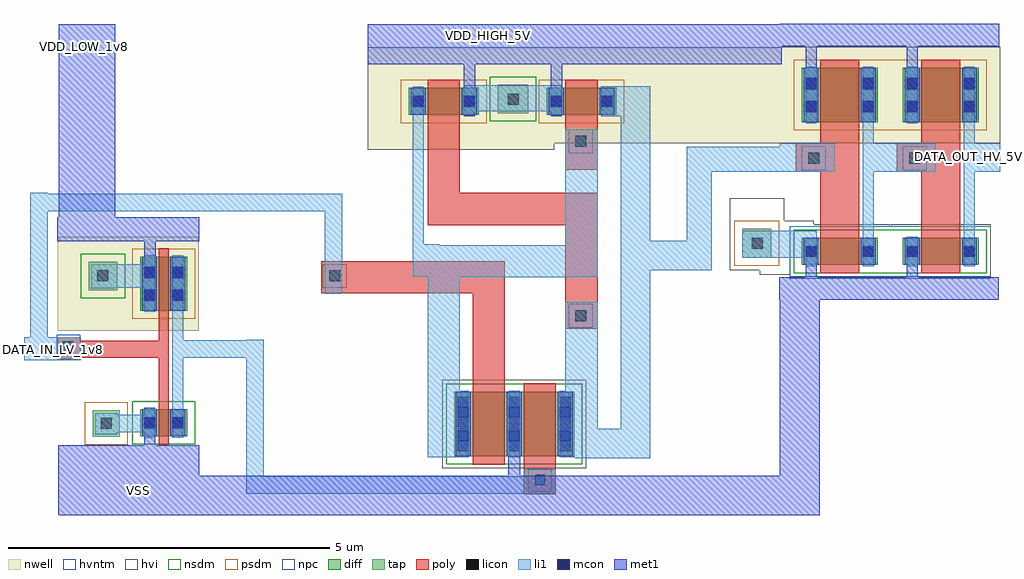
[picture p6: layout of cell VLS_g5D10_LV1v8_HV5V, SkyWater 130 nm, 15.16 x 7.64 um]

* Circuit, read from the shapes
.subckt VLS_g5D10_LV1v8_HV5V DATA_IN_LV_1v8 DATA_OUT_HV_5V VDD_HIGH_5V VDD_LOW_1v8 VSS
XM1 inv_D1_1v8_6/OUT DATA_IN_LV_1v8 VSS VSS sky130_fd_pr__nfet_01v8 w=0.42 l=0.15
XM2 VSS DATA_IN_LV_1v8 n1 VSS sky130_fd_pr__nfet_g5v0d10v5 w=1 l=0.5
XM3 inverter_D1_g5v10_5/IN inv_D1_1v8_6/OUT VSS VSS sky130_fd_pr__nfet_g5v0d10v5 w=1 l=0.5
XM4 inverter_D1_g5v10_4/IN inverter_D1_g5v10_5/IN VSS VSS sky130_fd_pr__nfet_g5v0d10v5 w=0.42 l=0.6
XM5 DATA_OUT_HV_5V inverter_D1_g5v10_4/IN VSS VSS sky130_fd_pr__nfet_g5v0d10v5 w=0.42 l=0.6
XM6 inv_D1_1v8_6/OUT DATA_IN_LV_1v8 VDD_LOW_1v8 VDD_LOW_1v8 sky130_fd_pr__pfet_01v8 w=0.84 l=0.15
XM7 VDD_HIGH_5V inverter_D1_g5v10_5/IN n1 VDD_HIGH_5V sky130_fd_pr__pfet_g5v0d10v5 w=0.42 l=0.5
XM8 inverter_D1_g5v10_5/IN n1 VDD_HIGH_5V VDD_HIGH_5V sky130_fd_pr__pfet_g5v0d10v5 w=0.42 l=0.5
XM9 inverter_D1_g5v10_4/IN inverter_D1_g5v10_5/IN VDD_HIGH_5V VDD_HIGH_5V sky130_fd_pr__pfet_g5v0d10v5 w=0.84 l=0.6
XM10 DATA_OUT_HV_5V inverter_D1_g5v10_4/IN VDD_HIGH_5V VDD_HIGH_5V sky130_fd_pr__pfet_g5v0d10v5 w=0.84 l=0.6
.ends

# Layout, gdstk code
import gdstk
lib = gdstk.Library(unit=1e-6, precision=1e-09)
def R(c, l, rs):  # rectangles x0, y0, x1, y1
    for r in rs: c.add(gdstk.rectangle(r[:2], r[2:], *l))
def A(c, l, x, y, w, h, nx, ny, dx, dy):  # array of equal rectangles
    R(c, l, [(x+i*dx, y+j*dy, x+i*dx+w, y+j*dy+h) for i in range(nx) for j in range(ny)])
nwell = (64, 20)
diff = (65, 20)
tap = (65, 44)
poly = (66, 20)
licon = (66, 44)
li1 = (67, 20)
mcon = (67, 44)
met1 = (68, 20)
hvi = (75, 20)
nsdm = (93, 44)
psdm = (94, 20)
npc = (95, 20)
hvntm = (125, 20)

sky130_fd_pr__pfet_g5v0d = lib.new_cell('sky130_fd_pr__pfet_g5v0d10v5_HDJJAB')
R(sky130_fd_pr__pfet_g5v0d, nwell, [(-0.72,-0.52,0.72,0.52)])
R(sky130_fd_pr__pfet_g5v0d, diff, [(-0.54,-0.21,0.54,0.21)])
R(sky130_fd_pr__pfet_g5v0d, poly, [(-0.25,-0.34,0.25,0.34)])
R(sky130_fd_pr__pfet_g5v0d, licon, [(-0.48,-0.085,-0.31,0.085), (0.31,-0.085,0.48,0.085)])
R(sky130_fd_pr__pfet_g5v0d, li1, [(-0.48,-0.23,-0.31,0.23), (0.31,-0.23,0.48,0.23)])
R(sky130_fd_pr__pfet_g5v0d, mcon, [(-0.48,-0.085,-0.31,0.085), (0.31,-0.085,0.48,0.085)])
R(sky130_fd_pr__pfet_g5v0d, met1, [(-0.51,-0.21,-0.28,0.21), (0.28,-0.21,0.51,0.21)])
R(sky130_fd_pr__pfet_g5v0d, hvi, [(-0.72,-0.52,0.72,-0.42), (-1.145,-0.42,1.145,0.42), (-0.72,0.42,0.72,0.52)])
R(sky130_fd_pr__pfet_g5v0d, psdm, [(-0.665,-0.335,0.665,0.335)])

sky130_fd_pr__nfet_g5v0d = lib.new_cell('sky130_fd_pr__nfet_g5v0d10v5_PDTLGW')
R(sky130_fd_pr__nfet_g5v0d, diff, [(-0.54,-0.5,0.54,0.5)])
R(sky130_fd_pr__nfet_g5v0d, poly, [(-0.25,-0.63,0.25,0.63)])
A(sky130_fd_pr__nfet_g5v0d, licon, -0.48, -0.425, 0.17, 0.17, 1, 3, 0, 0.34)
A(sky130_fd_pr__nfet_g5v0d, licon, 0.31, -0.425, 0.17, 0.17, 1, 3, 0, 0.34)
R(sky130_fd_pr__nfet_g5v0d, li1, [(-0.48,-0.52,-0.31,0.52), (0.31,-0.52,0.48,0.52)])
R(sky130_fd_pr__nfet_g5v0d, mcon, [(-0.48,-0.265,-0.31,-0.095), (0.31,-0.265,0.48,-0.095), (-0.48,0.095,-0.31,0.265), (0.31,0.095,0.48,0.265)])
R(sky130_fd_pr__nfet_g5v0d, met1, [(-0.51,-0.5,-0.28,0.5), (0.28,-0.5,0.51,0.5)])
R(sky130_fd_pr__nfet_g5v0d, hvi, [(-0.725,-0.685,0.725,0.685)])
R(sky130_fd_pr__nfet_g5v0d, nsdm, [(-0.665,-0.625,0.665,0.625)])
R(sky130_fd_pr__nfet_g5v0d, hvntm, [(-0.725,-0.685,0.725,0.685)])

c_sky130_fd_pr__pfet_g5v0d = lib.new_cell('sky130_fd_pr__pfet_g5v0d10v5_54DD5S')
R(c_sky130_fd_pr__pfet_g5v0d, nwell, [(-0.77,-0.73,0.77,0.73)])
R(c_sky130_fd_pr__pfet_g5v0d, diff, [(-0.59,-0.42,0.59,0.42)])
R(c_sky130_fd_pr__pfet_g5v0d, poly, [(-0.3,-0.55,0.3,0.55)])
R(c_sky130_fd_pr__pfet_g5v0d, licon, [(-0.53,-0.255,-0.36,-0.085), (0.36,-0.255,0.53,-0.085), (-0.53,0.085,-0.36,0.255), (0.36,0.085,0.53,0.255)])
R(c_sky130_fd_pr__pfet_g5v0d, li1, [(-0.53,-0.44,-0.36,0.44), (0.36,-0.44,0.53,0.44)])
R(c_sky130_fd_pr__pfet_g5v0d, mcon, [(-0.53,-0.265,-0.36,-0.095), (0.36,-0.265,0.53,-0.095), (-0.53,0.095,-0.36,0.265), (0.36,0.095,0.53,0.265)])
R(c_sky130_fd_pr__pfet_g5v0d, met1, [(-0.56,-0.42,-0.33,0.42), (0.33,-0.42,0.56,0.42)])
R(c_sky130_fd_pr__pfet_g5v0d, hvi, [(-0.77,-0.73,0.77,-0.605), (-0.775,-0.605,0.775,0.605), (-0.77,0.605,0.77,0.73)])
R(c_sky130_fd_pr__pfet_g5v0d, psdm, [(-0.715,-0.545,0.715,0.545)])

c_sky130_fd_pr__nfet_g5v0d = lib.new_cell('sky130_fd_pr__nfet_g5v0d10v5_RU632G')
R(c_sky130_fd_pr__nfet_g5v0d, diff, [(-0.59,-0.21,0.59,0.21)])
R(c_sky130_fd_pr__nfet_g5v0d, poly, [(-0.3,-0.34,0.3,0.34)])
R(c_sky130_fd_pr__nfet_g5v0d, licon, [(-0.53,-0.085,-0.36,0.085), (0.36,-0.085,0.53,0.085)])
R(c_sky130_fd_pr__nfet_g5v0d, li1, [(-0.53,-0.23,-0.36,0.23), (0.36,-0.23,0.53,0.23)])
R(c_sky130_fd_pr__nfet_g5v0d, mcon, [(-0.53,-0.085,-0.36,0.085), (0.36,-0.085,0.53,0.085)])
R(c_sky130_fd_pr__nfet_g5v0d, met1, [(-0.56,-0.21,-0.33,0.21), (0.33,-0.21,0.56,0.21)])
R(c_sky130_fd_pr__nfet_g5v0d, hvi, [(-0.775,-0.42,0.775,0.42)])
R(c_sky130_fd_pr__nfet_g5v0d, nsdm, [(-0.715,-0.335,0.715,0.335)])
R(c_sky130_fd_pr__nfet_g5v0d, hvntm, [(-0.775,-0.395,0.775,0.395)])

inverter_d1_g5v10 = lib.new_cell('inverter_D1_g5v10')
R(inverter_d1_g5v10, nwell, [(-0.49,1.54,1.36,3.04)])
R(inverter_d1_g5v10, poly, [(0.14,0.08,0.74,1.1), (-0.24,1.1,0.74,1.54), (0.14,1.54,0.74,1.74)])
R(inverter_d1_g5v10, licon, [(-0.05,1.225,0.12,1.395)])
R(inverter_d1_g5v10, li1, [(0.8,-0.175,0.97,1.1), (-0.49,1.1,0.36,1.54), (0.8,1.1,1.36,1.54), (0.8,1.54,0.97,1.87)])
R(inverter_d1_g5v10, met1, [(-0.5,-0.89,1.34,-0.54), (-0.09,-0.54,0.08,0.07), (-0.09,1.87,0.08,3.05), (-0.49,3.05,1.35,3.4)])
R(inverter_d1_g5v10, hvi, [(-0.49,1.54,1.36,1.56), (-0.49,1.56,-0.33,1.685), (1.21,1.56,1.36,1.685), (-0.49,1.685,-0.335,2.895), (1.215,1.685,1.36,2.895), (-0.49,2.895,-0.33,3.02), (1.21,2.895,1.36,3.02), (-0.49,3.02,1.36,3.04)])
R(inverter_d1_g5v10, npc, [(-0.15,1.125,0.22,1.495)])
inverter_d1_g5v10.add(gdstk.Reference(c_sky130_fd_pr__pfet_g5v0d, (0.44,2.29)))
inverter_d1_g5v10.add(gdstk.Reference(c_sky130_fd_pr__nfet_g5v0d, (0.44,-0.14)))
inverter_d1_g5v10.add(gdstk.Label('VDD', (0.46,3.25), layer=68, texttype=16))
inverter_d1_g5v10.add(gdstk.Label('GND', (0.46,-0.69), layer=68, texttype=16))
inverter_d1_g5v10.add(gdstk.Label('IN', (-0.32,1.33), layer=67, texttype=16))
inverter_d1_g5v10.add(gdstk.Label('OUT', (1.12,1.35), layer=67, texttype=16))

sky130_fd_pr__pfet_01v8_ = lib.new_cell('sky130_fd_pr__pfet_01v8_6PK3KM')
R(sky130_fd_pr__pfet_01v8_, nwell, [(-0.545,-0.73,0.545,0.73)])
R(sky130_fd_pr__pfet_01v8_, diff, [(-0.365,-0.42,0.365,0.42)])
R(sky130_fd_pr__pfet_01v8_, poly, [(-0.075,-0.55,0.075,0.55)])
R(sky130_fd_pr__pfet_01v8_, licon, [(-0.305,-0.255,-0.135,-0.085), (0.135,-0.255,0.305,-0.085), (-0.305,0.085,-0.135,0.255), (0.135,0.085,0.305,0.255)])
R(sky130_fd_pr__pfet_01v8_, li1, [(-0.305,-0.44,-0.135,0.44), (0.135,-0.44,0.305,0.44)])
R(sky130_fd_pr__pfet_01v8_, mcon, [(-0.305,-0.265,-0.135,-0.095), (0.135,-0.265,0.305,-0.095), (-0.305,0.095,-0.135,0.265), (0.135,0.095,0.305,0.265)])
R(sky130_fd_pr__pfet_01v8_, met1, [(-0.335,-0.42,-0.105,0.42), (0.105,-0.42,0.335,0.42)])
R(sky130_fd_pr__pfet_01v8_, psdm, [(-0.49,-0.545,0.49,0.545)])

sky130_fd_pr__nfet_01v8_ = lib.new_cell('sky130_fd_pr__nfet_01v8_FNPZCM')
R(sky130_fd_pr__nfet_01v8_, diff, [(-0.365,-0.21,0.365,0.21)])
R(sky130_fd_pr__nfet_01v8_, poly, [(-0.075,-0.34,0.075,0.34)])
R(sky130_fd_pr__nfet_01v8_, licon, [(-0.305,-0.085,-0.135,0.085), (0.135,-0.085,0.305,0.085)])
R(sky130_fd_pr__nfet_01v8_, li1, [(-0.305,-0.23,-0.135,0.23), (0.135,-0.23,0.305,0.23)])
R(sky130_fd_pr__nfet_01v8_, mcon, [(-0.305,-0.085,-0.135,0.085), (0.135,-0.085,0.305,0.085)])
R(sky130_fd_pr__nfet_01v8_, met1, [(-0.335,-0.21,-0.105,0.21), (0.105,-0.21,0.335,0.21)])
R(sky130_fd_pr__nfet_01v8_, nsdm, [(-0.49,-0.335,0.49,0.335)])

lv_1v8_pmostap_substrate = lib.new_cell('LV_1v8_pmosTap_substrate')
R(lv_1v8_pmostap_substrate, tap, [(-0.15,-0.1,0.29,0.34)])
R(lv_1v8_pmostap_substrate, licon, [(-0.015,0.035,0.155,0.205)])
R(lv_1v8_pmostap_substrate, li1, [(-0.11,-0.07,0.25,0.3)])
R(lv_1v8_pmostap_substrate, nsdm, [(-0.275,-0.225,0.415,0.465)])

lv_1v8_nmostap_substrate = lib.new_cell('LV_1v8_nmosTap_substrate_Pwell')
R(lv_1v8_nmostap_substrate, tap, [(-0.22,-0.18,0.2,0.23)])
R(lv_1v8_nmostap_substrate, licon, [(-0.095,-0.05,0.075,0.12)])
R(lv_1v8_nmostap_substrate, li1, [(-0.18,-0.14,0.16,0.19)])
R(lv_1v8_nmostap_substrate, psdm, [(-0.345,-0.305,0.325,0.355)])

inv_d1_1v8 = lib.new_cell('inv_D1_1v8')
R(inv_d1_1v8, nwell, [(-1.1,0,1.09,1.46)])
R(inv_d1_1v8, poly, [(0.47,-1.115,0.62,-0.42), (-1.1,-0.45,-0.75,-0.42), (-1.1,-0.42,0.62,-0.16), (-1.1,-0.16,-0.75,-0.1), (0.47,-0.16,0.62,0.19)])
R(inv_d1_1v8, licon, [(-1.02,-0.335,-0.85,-0.165)])
R(inv_d1_1v8, li1, [(-0.52,-1.58,0.37,-1.31), (0.68,-1.445,0.85,-0.42), (-1.1,-0.45,-0.75,-0.1), (0.68,-0.42,1.1,-0.15), (0.68,-0.15,0.85,0.43), (-0.57,0.67,0.35,1.03)])
R(inv_d1_1v8, met1, [(-1.095,-2.15,1.09,-1.78), (0.24,-1.78,0.41,-1.2), (0.24,0.83,0.42,1.39), (-1.105,1.39,1.1,1.76)])
R(inv_d1_1v8, npc, [(-1.12,-0.435,-0.75,-0.065)])
inv_d1_1v8.add(gdstk.Reference(sky130_fd_pr__pfet_01v8_, (0.545,0.73)))
inv_d1_1v8.add(gdstk.Reference(sky130_fd_pr__nfet_01v8_, (0.545,-1.43)))
inv_d1_1v8.add(gdstk.Reference(lv_1v8_pmostap_substrate, (-0.47,0.73)))
inv_d1_1v8.add(gdstk.Reference(lv_1v8_nmostap_substrate, (-0.34,-1.47)))
inv_d1_1v8.add(gdstk.Label('OUT', (0.94,-0.29), layer=67, texttype=16))
inv_d1_1v8.add(gdstk.Label('VDD', (0.23,1.61), layer=68, texttype=16))
inv_d1_1v8.add(gdstk.Label('VSS', (0.21,-1.99), layer=68, texttype=16))
inv_d1_1v8.add(gdstk.Label('IN', (-0.95,-0.25), layer=67, texttype=16))

mv_5v_pmostap_substrate = lib.new_cell('MV_5V_pmosTap_substrate')
R(mv_5v_pmostap_substrate, tap, [(-0.35,0,0.12,0.44)])
R(mv_5v_pmostap_substrate, licon, [(-0.195,0.13,-0.025,0.3)])
R(mv_5v_pmostap_substrate, li1, [(-0.31,0.04,0.07,0.4)])
R(mv_5v_pmostap_substrate, hvi, [(-0.535,-0.2,0.305,0.64)])
R(mv_5v_pmostap_substrate, nsdm, [(-0.475,-0.125,0.245,0.565)])

mv_5v_nmostap_substrate_ = lib.new_cell('MV_5V_nmosTap_substrate_Pwell')
R(mv_5v_nmostap_substrate_, tap, [(-0.48,-0.08,-0.03,0.37)])
R(mv_5v_nmostap_substrate_, licon, [(-0.335,0.065,-0.165,0.235)])
R(mv_5v_nmostap_substrate_, li1, [(-0.44,-0.03,-0.06,0.34)])
R(mv_5v_nmostap_substrate_, hvi, [(-0.675,-0.275,0.165,0.565)])
R(mv_5v_nmostap_substrate_, psdm, [(-0.605,-0.205,0.095,0.495)])

vls_g5d10_lv1v8_hv5v = lib.new_cell('VLS_g5D10_LV1v8_HV5V')
R(vls_g5d10_lv1v8_hv5v, nwell, [(-0.46,-0.23,2.44,-0.13), (-0.46,-0.13,6.075,1.36)])
R(vls_g5d10_lv1v8_hv5v, poly, [(1.96,-5.58,2.46,-5.04), (1.17,-3.88,1.67,-2.46), (2.61,-3.01,3.11,-1.4), (-1.18,-2.46,1.67,-1.96), (0.47,-1.4,3.11,-0.9), (0.47,-0.9,0.97,0.22), (2.61,-0.54,3.11,0.23)])
R(vls_g5d10_lv1v8_hv5v, licon, [(2.13,-5.445,2.3,-5.275), (2.765,-2.895,2.935,-2.725), (-1.06,-2.275,-0.89,-2.105), (2.765,-0.185,2.935,-0.015)])
R(vls_g5d10_lv1v8_hv5v, li1, [(-2.345,-5.575,2.355,-5.57), (-2.345,-5.57,2.46,-5.305), (-2.345,-5.305,-2.075,-3.46), (1.96,-5.305,2.46,-5.19), (2.76,-5.02,3.93,-5.01), (0.47,-5.01,0.97,-2.21), (2.61,-5.01,3.93,-4.56), (2.61,-4.56,3.11,-2.59), (3.47,-4.56,3.93,-2.1), (-5.8,-3.5,-4.92,-3.14), (-3.455,-3.46,-2.075,-3.19), (-2.345,-3.19,-2.075,-3.185), (-5.7,-3.14,-5.43,-1.185), (-1.125,-2.465,-0.855,-1.185), (0.47,-2.21,3.11,-2.205), (0.24,-2.205,3.11,-1.71), (4.495,-2.105,4.885,-2.1), (3.47,-2.1,4.885,-1.64), (5.36,-1.91,6.51,-1.49), (0.24,-1.71,0.66,-1.7), (2.61,-1.71,3.11,0.09), (0.24,-1.7,0.41,0.75), (3.47,-1.64,3.93,0.29), (4.495,-1.64,4.885,-0.57), (-5.7,-1.185,-0.855,-0.915), (-5.7,-0.915,-5.43,-0.9), (4.495,-0.57,6.33,-0.18), (8.96,-0.57,9.36,-0.13), (3.27,0.29,3.93,0.3), (3.17,0.3,3.93,0.76), (1.03,0.37,2.55,0.77)])
R(vls_g5d10_lv1v8_hv5v, met1, [(-5.25,-5.91,6.56,-5.9), (-5.27,-5.9,6.56,-5.29), (-5.27,-5.29,-3.08,-5.09), (1.72,-5.29,1.91,-4.69), (5.94,-5.29,6.56,-2.31), (-3.12,-5.09,-3.08,-4.82), (-5.26,-1.64,-4.38,1.72), (1.03,0.3,1.21,1.1), (2.38,0.3,2.56,1.1), (-0.46,1.1,5.97,1.72)])
R(vls_g5d10_lv1v8_hv5v, hvi, [(7.645,-2.205,7.665,-1.415), (5.625,-2.175,6.095,-2.105), (6.005,-2.105,6.095,-1.39), (6.005,-1.39,6.465,-1.335), (5.165,-1.265,6.005,-0.985), (-0.46,-0.23,2.44,-0.13), (-0.46,-0.13,5.94,0), (-0.46,0,0,0.1), (1.44,0,2.14,0.1), (3.58,0,5.94,0.1), (-0.46,0.1,-0.425,0.94), (4.005,0.1,5.94,0.94), (-0.46,0.94,0,1.04), (3.58,0.94,5.94,1.04), (1.44,0.98,2.14,1.04), (-0.46,1.04,5.94,1.36)])
R(vls_g5d10_lv1v8_hv5v, nsdm, [(7.585,-2.145,7.725,-1.475)])
R(vls_g5d10_lv1v8_hv5v, psdm, [(7.585,0.075,7.725,1.165)])
R(vls_g5d10_lv1v8_hv5v, npc, [(2.03,-5.545,2.4,-5.175), (2.665,-2.995,3.035,-2.625), (-1.16,-2.375,-0.79,-2.005), (2.665,-0.285,3.035,0.085)])
R(vls_g5d10_lv1v8_hv5v, hvntm, [(7.645,-2.205,7.665,-1.415)])
vls_g5d10_lv1v8_hv5v.add(gdstk.Reference(sky130_fd_pr__pfet_g5v0d, (2.86,0.52)))
vls_g5d10_lv1v8_hv5v.add(gdstk.Reference(sky130_fd_pr__pfet_g5v0d, (0.72,0.52)))
vls_g5d10_lv1v8_hv5v.add(gdstk.Reference(sky130_fd_pr__nfet_g5v0d, (2.21,-4.49)))
vls_g5d10_lv1v8_hv5v.add(gdstk.Reference(sky130_fd_pr__nfet_g5v0d, (1.42,-4.49)))
vls_g5d10_lv1v8_hv5v.add(gdstk.Reference(inverter_d1_g5v10, (8,-1.67)))
vls_g5d10_lv1v8_hv5v.add(gdstk.Reference(inverter_d1_g5v10, (6.43,-1.67)))
vls_g5d10_lv1v8_hv5v.add(gdstk.Reference(inv_d1_1v8, (-4.175,-3.04)))
vls_g5d10_lv1v8_hv5v.add(gdstk.Reference(mv_5v_pmostap_substrate, (1.91,0.34)))
vls_g5d10_lv1v8_hv5v.add(gdstk.Reference(mv_5v_nmostap_substrate_, (5.84,-1.83)))
vls_g5d10_lv1v8_hv5v.add(gdstk.Label('DATA_IN_LV_1v8', (-5.66,-3.34), layer=67, texttype=16))
vls_g5d10_lv1v8_hv5v.add(gdstk.Label('VDD_HIGH_5V', (1.42,1.54), layer=68, texttype=16))
vls_g5d10_lv1v8_hv5v.add(gdstk.Label('VDD_LOW_1v8', (-4.86,1.37), layer=68, texttype=16))
vls_g5d10_lv1v8_hv5v.add(gdstk.Label('VSS', (-4.02,-5.53), layer=68, texttype=16))
vls_g5d10_lv1v8_hv5v.add(gdstk.Label('DATA_OUT_HV_5V', (9.14,-0.33), layer=67, texttype=16))

lib.write_gds('VLS_g5D10_LV1v8_HV5V.gds')
